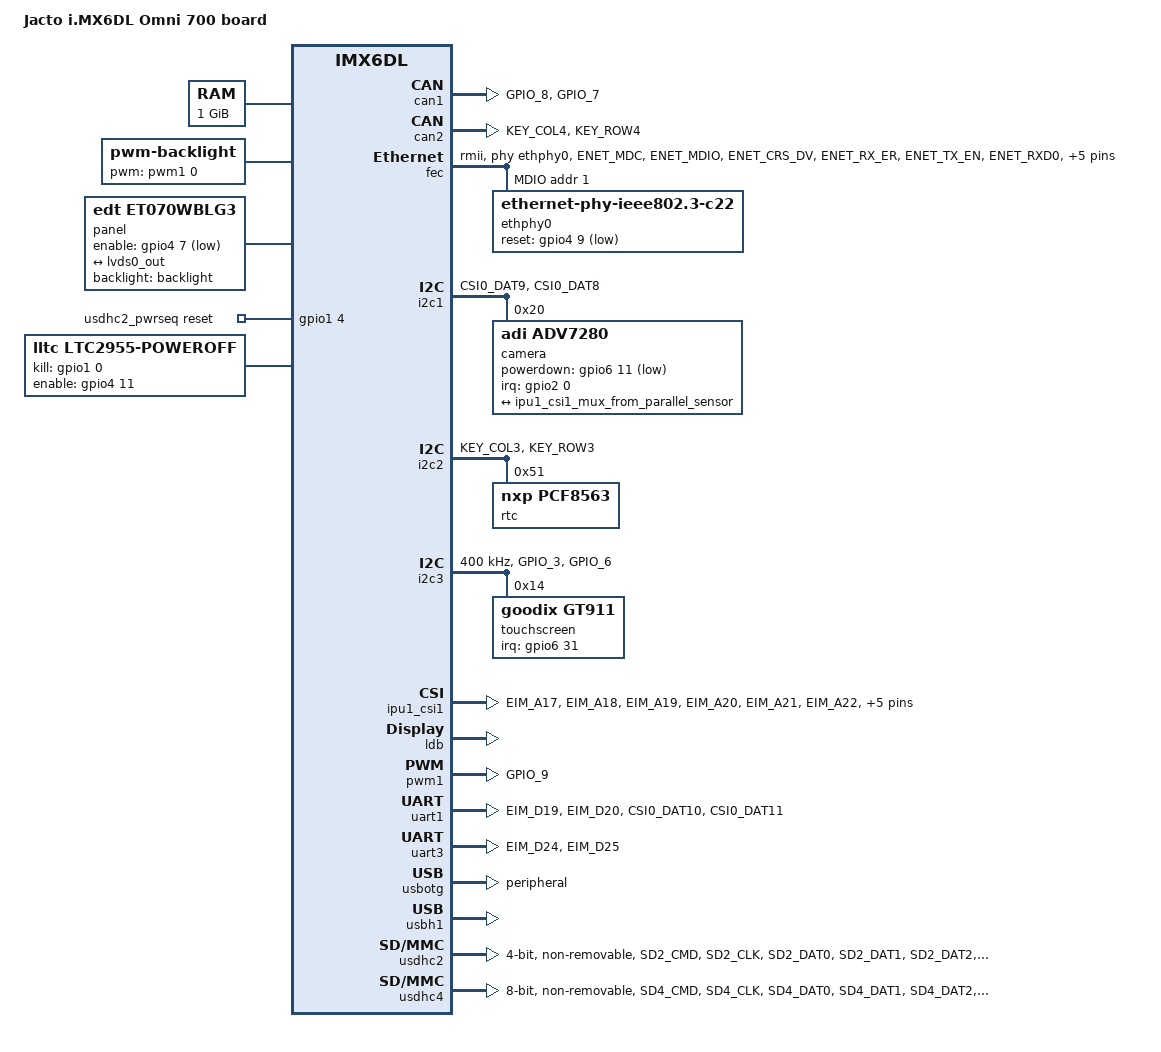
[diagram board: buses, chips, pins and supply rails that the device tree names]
// SPDX-License-Identifier: (GPL-2.0+ OR MIT)

/dts-v1/;

#include <dt-bindings/gpio/gpio.h>
#include "imx6dl.dtsi"

/ {
	model = "Jacto i.MX6DL Omni 700 board";
	compatible = "jacto,imx6dl-omni700", "fsl,imx6dl";

	chosen {
		stdout-path = &uart3;
	};

	aliases {
		mmc0 = &usdhc4;
		mmc1 = &usdhc2;
	};

	memory@10000000 {
		device_type = "memory";
		reg = <0x10000000 0x40000000>;
	};

	backlight: backlight {
		compatible = "pwm-backlight";
		pwms = <&pwm1 0 50000>;
		brightness-levels = <0 4 8 16 32 64 128 201>;
		default-brightness-level = <7>;
		status = "okay";
	};

	panel {
		compatible = "edt,et070wblg3";
		backlight = <&backlight>;
		pinctrl-names = "default";
		pinctrl-0 = <&pinctrl_lcd_enable>;
		enable-gpios = <&gpio4 7 GPIO_ACTIVE_LOW>;

		port {
			panel_in: endpoint {
				remote-endpoint = <&lvds0_out>;
			};
		};
	};

	usdhc2_pwrseq: usdhc1_pwrseq {
		compatible = "mmc-pwrseq-simple";
		reset-gpios = <&gpio1 4 GPIO_ACTIVE_HIGH>;
		post-power-on-delay-ms = <10>;
	};

	ltc2955-poweroff {
		compatible = "lltc,ltc2955-poweroff";
		kill-gpios = <&gpio1 0 GPIO_ACTIVE_HIGH>;
		enable-gpios = <&gpio4 11 GPIO_ACTIVE_HIGH>;
		status = "okay";
	};
};

&can1 {
	pinctrl-names = "default";
	pinctrl-0 = <&pinctrl_flexcan1>;
	status = "okay";
};

&can2 {
	pinctrl-names = "default";
	pinctrl-0 = <&pinctrl_flexcan2>;
	status = "okay";
};

&clks {
	assigned-clocks = <&clks IMX6QDL_CLK_LDB_DI1_SEL>,
			  <&clks IMX6QDL_CLK_IPU1_DI0_PRE_SEL>;
	assigned-clock-parents = <&clks IMX6QDL_CLK_PLL5_VIDEO_DIV>,
				 <&clks IMX6QDL_CLK_PLL2_PFD2_396M>;
};

&fec {
	pinctrl-names = "default";
	pinctrl-0 = <&pinctrl_enet>;
	phy-mode = "rmii";
	phy-handle = <&ethphy0>;
	status = "okay";


	mdio {
		#address-cells = <1>;
		#size-cells = <0>;

		/* Microchip/Micrel KSZ8081RNB */
		ethphy0: ethernet-phy@1 {
			reg = <1>;
			compatible = "ethernet-phy-ieee802.3-c22";
			reset-delay-us = <10000>;
			reset-post-delay-us = <100>;
			reset-gpios = <&gpio4 9 GPIO_ACTIVE_LOW>;
			clocks = <&clks IMX6QDL_CLK_ENET_REF>;
			clock-names = "rmii-ref";
		};
	};
};

&i2c1 {
	pinctrl-names = "default";
	pinctrl-0 = <&pinctrl_i2c1>;
	status = "okay";

	camera@20 {
		compatible = "adi,adv7280";
		reg = <0x20>;
		pinctrl-names = "default";
		pinctrl-0 = <&pinctrl_camera>;
		adv,force-bt656-4;
		powerdown-gpios = <&gpio6 11 GPIO_ACTIVE_LOW>;
		interrupt-parent = <&gpio2>;
		interrupts = <0 IRQ_TYPE_LEVEL_LOW>;

		port {
			adv7280_to_ipu1_csi1_mux: endpoint {
				remote-endpoint = <&ipu1_csi1_mux_from_parallel_sensor>;
				bus-width = <8>;
			};
		};
	};
};


&i2c2 {
	pinctrl-names = "default";
	pinctrl-0 = <&pinctrl_i2c2>;
	status = "okay";

	rtc@51 {
		compatible = "nxp,pcf8563";
		reg = <0x51>;
	};
};

&i2c3 {
	clock-frequency = <400000>;
	pinctrl-names = "default";
	pinctrl-0 = <&pinctrl_i2c3>;
	status = "okay";

	touchscreen@14 {
		compatible = "goodix,gt911";
		reg = <0x14>;
		pinctrl-names = "default";
		pinctrl-0 = <&pinctrl_ts>;
		interrupt-parent = <&gpio6>;
		interrupts = <31 IRQ_TYPE_EDGE_FALLING>;
		irq-gpios = <&gpio6 31 GPIO_ACTIVE_HIGH>;
	};
};

&ipu1_csi1_from_ipu1_csi1_mux {
	bus-width = <8>;
};

&ipu1_csi1_mux_from_parallel_sensor {
	remote-endpoint = <&adv7280_to_ipu1_csi1_mux>;
	bus-width = <8>;
};

&ipu1_csi1 {
	pinctrl-names = "default";
	pinctrl-0 = <&pinctrl_ipu1_csi1>;
};

&ldb {
	status = "okay";

	lvds-channel@1 {
		reg = <1>;
		fsl,data-mapping = "spwg";
		fsl,data-width = <18>;
		status = "okay";

		port@4 {
			reg = <4>;

			lvds0_out: endpoint {
				remote-endpoint = <&panel_in>;
			};
		};
	};
};

&pwm1 {
	#pwm-cells = <2>;
	pinctrl-names = "default";
	pinctrl-0 = <&pinctrl_pwm1>;
	status = "okay";
};

&snvs_rtc {
	status = "disabled";
};

&uart1 {
	pinctrl-names = "default";
	pinctrl-0 = <&pinctrl_uart1>;
	uart-has-rtscts;
	status = "okay";
};

&uart3 {
	pinctrl-names = "default";
	pinctrl-0 = <&pinctrl_uart3>;
	status = "okay";
};

&usbotg {
	dr_mode = "peripheral";
	status = "okay";
};

&usbh1 {
	status = "okay";
};

&usdhc2 {
	pinctrl-names = "default", "state_100mhz", "state_200mhz";
	pinctrl-0 = <&pinctrl_usdhc2>;
	pinctrl-1 = <&pinctrl_usdhc2_100mhz>;
	pinctrl-2 = <&pinctrl_usdhc2_200mhz>;
	bus-width = <4>;
	no-1-8-v;
	mmc-pwrseq = <&usdhc2_pwrseq>;
	keep-power-in-suspend;
	non-removable;
	status = "okay";
};

&usdhc4 {
	pinctrl-names = "default";
	pinctrl-0 = <&pinctrl_usdhc4>;
	bus-width = <8>;
	non-removable;
	no-1-8-v;
	status = "okay";
};

&iomuxc {
	pinctrl-names = "default";
	pinctrl-0 = <&pinctrl_hog>;

	pinctrl_hog: hoggrp {
		fsl,pins = <
			MX6QDL_PAD_GPIO_1__GPIO1_IO01		0x1b0b0
		>;
	};

	pinctrl_camera: cameragrp {
		fsl,pins = <
			MX6QDL_PAD_NANDF_CS0__GPIO6_IO11	0x1b0b0
			MX6QDL_PAD_NANDF_D0__GPIO2_IO00	0x1b0b0
		>;
	};

	pinctrl_enet: enetgrp {
		fsl,pins = <
			MX6QDL_PAD_ENET_MDC__ENET_MDC		0x1b0b0
			MX6QDL_PAD_ENET_MDIO__ENET_MDIO	0x1b0b0
			MX6QDL_PAD_ENET_CRS_DV__ENET_RX_EN	0x1b0b0
			MX6QDL_PAD_ENET_RX_ER__ENET_RX_ER	0x1b0b0
			MX6QDL_PAD_ENET_TX_EN__ENET_TX_EN	0x1b0b0
			MX6QDL_PAD_ENET_RXD0__ENET_RX_DATA0	0x1b0b0
			MX6QDL_PAD_ENET_RXD1__ENET_RX_DATA1	0x1b0b0
			MX6QDL_PAD_ENET_TXD0__ENET_TX_DATA0	0x1b0b0
			MX6QDL_PAD_ENET_TXD1__ENET_TX_DATA1	0x1b0b0
			MX6QDL_PAD_GPIO_16__ENET_REF_CLK	0x4001b0a1
			MX6QDL_PAD_KEY_ROW1__GPIO4_IO09	0x1b0b0
		>;
	};

	pinctrl_flexcan1: flexcan1grp {
		fsl,pins = <
			MX6QDL_PAD_GPIO_8__FLEXCAN1_RX	0x17059
			MX6QDL_PAD_GPIO_7__FLEXCAN1_TX	0x17059
		>;
	};

	pinctrl_flexcan2: flexcan2grp {
		fsl,pins = <
			MX6QDL_PAD_KEY_COL4__FLEXCAN2_TX	0x17059
			MX6QDL_PAD_KEY_ROW4__FLEXCAN2_RX	0x17059
		>;
	};

	pinctrl_i2c1: i2c1grp {
		fsl,pins = <
			MX6QDL_PAD_CSI0_DAT9__I2C1_SCL	0x4001b8b1
			MX6QDL_PAD_CSI0_DAT8__I2C1_SDA	0x4001b8b1
		>;
	};

	pinctrl_i2c2: i2c2grp {
		fsl,pins = <
			MX6QDL_PAD_KEY_COL3__I2C2_SCL		0x4001b8b1
			MX6QDL_PAD_KEY_ROW3__I2C2_SDA		0x4001b8b1
		>;
	};

	pinctrl_i2c3: i2c3grp {
		fsl,pins = <
			MX6QDL_PAD_GPIO_3__I2C3_SCL		0x4001b8b1
			MX6QDL_PAD_GPIO_6__I2C3_SDA		0x4001b8b1
		>;
	};

	pinctrl_ipu1_csi1: ipu1csi0grp {
		fsl,pins = <
			MX6QDL_PAD_EIM_A17__IPU1_CSI1_DATA12	0x1b0b0
			MX6QDL_PAD_EIM_A18__IPU1_CSI1_DATA13	0x1b0b0
			MX6QDL_PAD_EIM_A19__IPU1_CSI1_DATA14	0x1b0b0
			MX6QDL_PAD_EIM_A20__IPU1_CSI1_DATA15	0x1b0b0
			MX6QDL_PAD_EIM_A21__IPU1_CSI1_DATA16	0x1b0b0
			MX6QDL_PAD_EIM_A22__IPU1_CSI1_DATA17	0x1b0b0
			MX6QDL_PAD_EIM_A23__IPU1_CSI1_DATA18	0x1b0b0
			MX6QDL_PAD_EIM_A24__IPU1_CSI1_DATA19	0x1b0b0
			MX6QDL_PAD_EIM_D17__IPU1_CSI1_PIXCLK	0x1b0b0
			MX6QDL_PAD_EIM_EB3__IPU1_CSI1_HSYNC	0x1b0b0
			MX6QDL_PAD_EIM_D29__IPU1_CSI1_VSYNC	0x1b0b0
		>;
	};

	pinctrl_lcd_enable: lcdenablegrp {
		fsl,pins = <
			MX6QDL_PAD_KEY_ROW0__GPIO4_IO07	0x1b0b0
		>;
	};

	pinctrl_pwm1: pwm1grp {
		fsl,pins = <
			MX6QDL_PAD_GPIO_9__PWM1_OUT		0x1b0b1
		>;
	};

	pinctrl_ts: tsgrp {
		fsl,pins = <
			MX6QDL_PAD_EIM_BCLK__GPIO6_IO31	0x1b0b0
		>;
	};

	pinctrl_uart1: uart1grp {
		fsl,pins = <
			MX6QDL_PAD_EIM_D19__UART1_CTS_B	0x1b0b1
			MX6QDL_PAD_EIM_D20__UART1_RTS_B	0x1b0b1
			MX6QDL_PAD_CSI0_DAT10__UART1_TX_DATA	0x1b0b1
			MX6QDL_PAD_CSI0_DAT11__UART1_RX_DATA	0x1b0b1
		>;
	};

	pinctrl_uart3: uart3grp {
		fsl,pins = <
			MX6QDL_PAD_EIM_D24__UART3_TX_DATA	0x1b0b1
			MX6QDL_PAD_EIM_D25__UART3_RX_DATA	0x1b0b1
		>;
	};

	pinctrl_usdhc2: usdhc2grp {
		fsl,pins = <
			MX6QDL_PAD_SD2_CMD__SD2_CMD		0x17059
			MX6QDL_PAD_SD2_CLK__SD2_CLK		0x10071
			MX6QDL_PAD_SD2_DAT0__SD2_DATA0	0x17059
			MX6QDL_PAD_SD2_DAT1__SD2_DATA1	0x17059
			MX6QDL_PAD_SD2_DAT2__SD2_DATA2	0x17059
			MX6QDL_PAD_SD2_DAT3__SD2_DATA3	0x17059
			MX6QDL_PAD_GPIO_4__GPIO1_IO04		0x1b0b0
		>;
	};

	pinctrl_usdhc2_100mhz: usdhc2grp100mhz {
		fsl,pins = <
			MX6QDL_PAD_SD2_CMD__SD2_CMD		0x170b9
			MX6QDL_PAD_SD2_CLK__SD2_CLK		0x100b9
			MX6QDL_PAD_SD2_DAT0__SD2_DATA0	0x170b9
			MX6QDL_PAD_SD2_DAT1__SD2_DATA1	0x170b9
			MX6QDL_PAD_SD2_DAT2__SD2_DATA2	0x170b9
			MX6QDL_PAD_SD2_DAT3__SD2_DATA3	0x170b9
			MX6QDL_PAD_GPIO_4__GPIO1_IO04		0x1b0b0
		>;
	};

	pinctrl_usdhc2_200mhz: usdhc2grp200mhz {
		fsl,pins = <
			MX6QDL_PAD_SD2_CMD__SD2_CMD		0x170f9
			MX6QDL_PAD_SD2_CLK__SD2_CLK		0x100f9
			MX6QDL_PAD_SD2_DAT0__SD2_DATA0	0x170f9
			MX6QDL_PAD_SD2_DAT1__SD2_DATA1	0x170f9
			MX6QDL_PAD_SD2_DAT2__SD2_DATA2	0x170f9
			MX6QDL_PAD_SD2_DAT3__SD2_DATA3	0x170f9
			MX6QDL_PAD_GPIO_4__GPIO1_IO04		0x1b0b0
		>;
	};

	pinctrl_usdhc4: usdhc4grp {
		fsl,pins = <
			MX6QDL_PAD_SD4_CMD__SD4_CMD		0x17059
			MX6QDL_PAD_SD4_CLK__SD4_CLK		0x10059
			MX6QDL_PAD_SD4_DAT0__SD4_DATA0	0x17059
			MX6QDL_PAD_SD4_DAT1__SD4_DATA1	0x17059
			MX6QDL_PAD_SD4_DAT2__SD4_DATA2	0x17059
			MX6QDL_PAD_SD4_DAT3__SD4_DATA3	0x17059
			MX6QDL_PAD_SD4_DAT4__SD4_DATA4	0x17059
			MX6QDL_PAD_SD4_DAT5__SD4_DATA5	0x17059
			MX6QDL_PAD_SD4_DAT6__SD4_DATA6	0x17059
			MX6QDL_PAD_SD4_DAT7__SD4_DATA7	0x17059
		>;
	};
};
